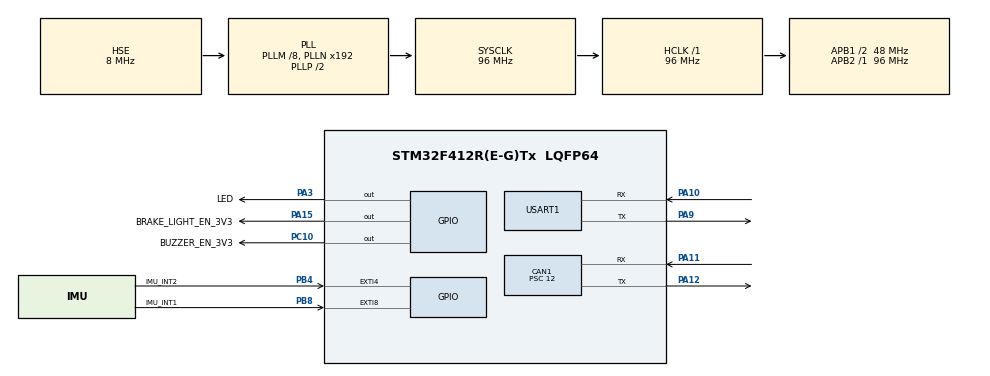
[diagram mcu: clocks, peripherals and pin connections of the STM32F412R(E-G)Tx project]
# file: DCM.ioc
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CAN1.ABOM=ENABLE
CAN1.BS1=CAN_BS1_6TQ
CAN1.CalculateBaudRate=500000
CAN1.CalculateTimeBit=2000
CAN1.CalculateTimeQuantum=250.0
CAN1.NART=ENABLE
CAN1.Prescaler=12
CAN1.RFLM=ENABLE
CAN1.SJW=CAN_SJW_4TQ
CAN1.TXFP=ENABLE
Dma.Request0=USART1_RX
Dma.USART1_RX.0.Direction=DMA_PERIPH_TO_MEMORY
Dma.USART1_RX.0.FIFOMode=DMA_FIFOMODE_DISABLE
Dma.USART1_RX.0.Instance=DMA2_Stream2
Dma.USART1_RX.0.MemDataAlignment=DMA_MDATAALIGN_BYTE
Dma.USART1_RX.0.MemInc=DMA_MINC_ENABLE
Dma.USART1_RX.0.Mode=DMA_CIRCULAR
Dma.USART1_RX.0.PeriphDataAlignment=DMA_PDATAALIGN_BYTE
Dma.USART1_RX.0.PeriphInc=DMA_PINC_DISABLE
Dma.USART1_RX.0.Priority=DMA_PRIORITY_LOW
FREERTOS.INCLUDE_uxTaskGetStackHighWaterMark=1
FREERTOS.INCLUDE_vTaskDelayUntil=1
FREERTOS.MEMORY_ALLOCATION=1
FREERTOS.Tasks01=Task1Hz,32,4096,RunTask1Hz,Default,NULL,Static,Task1HzBuffer,Task1HzControlBlock;Task1kHz,48,4096,RunTask1kHz,Default,NULL,Static,Task1kHzBuffer,Task1kHzControlBlock;TaskCanRx,24,4096,RunTaskCanRx,Default,NULL,Static,TaskCanRxBuffer,TaskCanRxControlBlock;TaskCanTx,24,4096,RunTaskCanTx,Default,NULL,Static,TaskCanTxBuffer,TaskCanTxControlBlock;Task100Hz,40,4096,RunTask100Hz,Default,NULL,Static,Task100HzBuffer,Task100HzControlBlock
FREERTOS.configCHECK_FOR_STACK_OVERFLOW=2
FREERTOS.configUSE_NEWLIB_REENTRANT=1
FREERTOS.configUSE_TICK_HOOK=1
FREERTOS.configUSE_TRACE_FACILITY=1
IWDG.Reload=LSI_FREQUENCY /  IWDG_PRESCALER / IWDG_RESET_FREQUENCY
Mcu.Family=STM32F4
Mcu.Name=STM32F412R(E-G)Tx
Mcu.Package=LQFP64
Mcu.UserConstants=LSI_FREQUENCY,32000;IWDG_PRESCALER,4;IWDG_RESET_FREQUENCY,5;SBG_ELLIPSE_GPS_BAUD_RATE,460800
NVIC.CAN1_RX0_IRQn=true\:5\:0\:false\:false\:true\:true\:true\:true\:true
NVIC.CAN1_RX1_IRQn=true\:5\:0\:false\:false\:true\:true\:true\:true\:true
NVIC.DMA2_Stream2_IRQn=true\:5\:0\:false\:false\:true\:true\:false\:true\:true
NVIC.PriorityGroup=NVIC_PRIORITYGROUP_4
NVIC.TIM6_IRQn=true\:15\:0\:false\:false\:true\:false\:false\:true\:true
NVIC.TimeBase=TIM6_IRQn
NVIC.TimeBaseIP=TIM6
PA10.Mode=Asynchronous
PA10.Signal=USART1_RX
PA11.GPIO_Speed=GPIO_SPEED_FREQ_HIGH
PA11.Mode=CAN_Activate
PA11.Signal=CAN1_RX
PA12.GPIO_Speed=GPIO_SPEED_FREQ_HIGH
PA12.Mode=CAN_Activate
PA12.Signal=CAN1_TX
PA13.Mode=Trace_Asynchronous_SW
PA13.Signal=SYS_JTMS-SWDIO
PA14.Mode=Trace_Asynchronous_SW
PA14.Signal=SYS_JTCK-SWCLK
PA15.GPIO_Label=BRAKE_LIGHT_EN_3V3
PA15.Signal=GPIO_Output
PA3.GPIO_Label=LED
PA3.Signal=GPIO_Output
PA9.Mode=Asynchronous
PA9.Signal=USART1_TX
PB3.Mode=Trace_Asynchronous_SW
PB3.Signal=SYS_JTDO-SWO
PB4.GPIO_Label=IMU_INT2
PB4.Signal=GPXTI4
PB6.Signal=I2C1_SCL
PB7.Signal=I2C1_SDA
PB8.GPIO_Label=IMU_INT1
PB8.Signal=GPXTI8
PC10.GPIO_Label=BUZZER_EN_3V3
PC10.Signal=GPIO_Output
PH0\ -\ OSC_IN.Mode=HSE-External-Oscillator
PH0\ -\ OSC_IN.Signal=RCC_OSC_IN
PH1\ -\ OSC_OUT.Mode=HSE-External-Oscillator
PH1\ -\ OSC_OUT.Signal=RCC_OSC_OUT
ProjectManager.HeapSize=0x00
ProjectManager.StackSize=0x400
ProjectManager.TargetToolchain=STM32CubeIDE
RCC.AHBFreq_Value=96000000
RCC.APB1CLKDivider=RCC_HCLK_DIV2
RCC.APB1Freq_Value=48000000
RCC.APB1TimFreq_Value=96000000
RCC.APB2Freq_Value=96000000
RCC.APB2TimFreq_Value=96000000
RCC.CortexFreq_Value=96000000
RCC.HCLKFreq_Value=96000000
RCC.HSE_VALUE=8000000
RCC.PLLM=8
RCC.PLLSourceVirtual=RCC_PLLSOURCE_HSE
RCC.SYSCLKFreq_VALUE=96000000
RCC.SYSCLKSource=RCC_SYSCLKSOURCE_PLLCLK
RCC.USBFreq_Value=96000000
RCC.VCOOutputFreq_Value=192000000
USART1.BaudRate=SBG_ELLIPSE_GPS_BAUD_RATE
USART1.VirtualMode=VM_ASYNC
VP_FREERTOS_VS_CMSIS_V2.Mode=CMSIS_V2
VP_IWDG_VS_IWDG.Mode=IWDG_Activate
VP_SYS_VS_tim6.Mode=TIM6
board=custom

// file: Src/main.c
/* USER CODE BEGIN Header */
/**
 ******************************************************************************
 * @file           : main.c
 * @brief          : Main program body
 ******************************************************************************
 * @attention
 *
 * <h2><center>&copy; Copyright (c) 2020 STMicroelectronics.
 * All rights reserved.</center></h2>
 *
 * This software component is licensed by ST under Ultimate Liberty license
 * SLA0044, the "License"; You may not use this file except in compliance with
 * the License. You may obtain a copy of the License at:
 *                             www.st.com/SLA0044
 *
 ******************************************************************************
 */
/* USER CODE END Header */
#include "main.h"
#include "cmsis_os.h"

/* USER CODE BEGIN Includes */
#include <assert.h>

#include "Io_SharedSoftwareWatchdog.h"
#include "Io_CanTx.h"
#include "Io_CanRx.h"
#include "hw_hardFaultHandler.h"
#include "Io_StackWaterMark.h"
#include "Io_SoftwareWatchdog.h"
#include "Io_SharedHeartbeatMonitor.h"
#include "Io_BrakeLight.h"
#include "Io_Buzzer.h"
#include "Io_LSM6DS33.h"
#include "Io_EllipseImu.h"
#include "io_can.h"
#include "io_jsoncan.h"
#include "io_log.h"
#include "hw_bootup.h"
#include "hw_can.h"

#include "App_SharedMacros.h"
#include "App_DcmWorld.h"
#include "App_SharedStateMachine.h"
#include "states/App_InitState.h"
#include "configs/App_HeartbeatMonitorConfig.h"
#include "configs/App_AccelerationThresholds.h"
#include "App_CommitInfo.h"
#include "hw_uart.h"

/* USER CODE END Includes */

typedef StaticTask_t osStaticThreadDef_t;

CAN_HandleTypeDef hcan1;

IWDG_HandleTypeDef hiwdg;

UART_HandleTypeDef huart1;
DMA_HandleTypeDef  hdma_usart1_rx;

/* Definitions for Task1Hz */
osThreadId_t         Task1HzHandle;
uint32_t             Task1HzBuffer[4096];
osStaticThreadDef_t  Task1HzControlBlock;
const osThreadAttr_t Task1Hz_attributes = {
    .name       = "Task1Hz",
    .cb_mem     = &Task1HzControlBlock,
    .cb_size    = sizeof(Task1HzControlBlock),
    .stack_mem  = &Task1HzBuffer[0],
    .stack_size = sizeof(Task1HzBuffer),
    .priority   = (osPriority_t)osPriorityAboveNormal,
};
/* Definitions for Task1kHz */
osThreadId_t         Task1kHzHandle;
uint32_t             Task1kHzBuffer[4096];
osStaticThreadDef_t  Task1kHzControlBlock;
const osThreadAttr_t Task1kHz_attributes = {
    .name       = "Task1kHz",
    .cb_mem     = &Task1kHzControlBlock,
    .cb_size    = sizeof(Task1kHzControlBlock),
    .stack_mem  = &Task1kHzBuffer[0],
    .stack_size = sizeof(Task1kHzBuffer),
    .priority   = (osPriority_t)osPriorityRealtime,
};
/* Definitions for TaskCanRx */
osThreadId_t         TaskCanRxHandle;
uint32_t             TaskCanRxBuffer[4096];
osStaticThreadDef_t  TaskCanRxControlBlock;
const osThreadAttr_t TaskCanRx_attributes = {
    .name       = "TaskCanRx",
    .cb_mem     = &TaskCanRxControlBlock,
    .cb_size    = sizeof(TaskCanRxControlBlock),
    .stack_mem  = &TaskCanRxBuffer[0],
    .stack_size = sizeof(TaskCanRxBuffer),
    .priority   = (osPriority_t)osPriorityNormal,
};
/* Definitions for TaskCanTx */
osThreadId_t         TaskCanTxHandle;
uint32_t             TaskCanTxBuffer[4096];
osStaticThreadDef_t  TaskCanTxControlBlock;
const osThreadAttr_t TaskCanTx_attributes = {
    .name       = "TaskCanTx",
    .cb_mem     = &TaskCanTxControlBlock,
    .cb_size    = sizeof(TaskCanTxControlBlock),
    .stack_mem  = &TaskCanTxBuffer[0],
    .stack_size = sizeof(TaskCanTxBuffer),
    .priority   = (osPriority_t)osPriorityNormal,
};
/* Definitions for Task100Hz */
osThreadId_t         Task100HzHandle;
uint32_t             Task100HzBuffer[4096];
osStaticThreadDef_t  Task100HzControlBlock;
const osThreadAttr_t Task100Hz_attributes = {
    .name       = "Task100Hz",
    .cb_mem     = &Task100HzControlBlock,
    .cb_size    = sizeof(Task100HzControlBlock),
    .stack_mem  = &Task100HzBuffer[0],
    .stack_size = sizeof(Task100HzBuffer),
    .priority   = (osPriority_t)osPriorityHigh,
};
/* USER CODE BEGIN PV */
struct DcmWorld *        world;
struct StateMachine *    state_machine;
struct HeartbeatMonitor *heartbeat_monitor;
struct BrakeLight *      brake_light;
struct Buzzer *          buzzer;
struct Imu *             imu;
struct Clock *           clock;
UART                     imu_uart = { .handle = &huart1 };

// config to forward can functions to shared heartbeat
// BMS rellies on DIM, FSM, and BMS
bool heartbeatMonitorChecklist[HEARTBEAT_BOARD_COUNT] = { [BMS_HEARTBEAT_BOARD] = true,
                                                          [DCM_HEARTBEAT_BOARD] = false,
                                                          [PDM_HEARTBEAT_BOARD] = false,
                                                          [FSM_HEARTBEAT_BOARD] = true,
                                                          [DIM_HEARTBEAT_BOARD] = true };

// heartbeatGetters - get heartbeat signals from other boards
bool (*heartbeatGetters[HEARTBEAT_BOARD_COUNT])() = { [BMS_HEARTBEAT_BOARD] = &App_CanRx_BMS_Heartbeat_Get,
                                                      [DCM_HEARTBEAT_BOARD] = NULL,
                                                      [PDM_HEARTBEAT_BOARD] = NULL,
                                                      [FSM_HEARTBEAT_BOARD] = &App_CanRx_FSM_Heartbeat_Get,
                                                      [DIM_HEARTBEAT_BOARD] = &App_CanRx_DIM_Heartbeat_Get };

// heartbeatUpdaters - update local CAN table with heartbeat status
void (*heartbeatUpdaters[HEARTBEAT_BOARD_COUNT])(bool) = { [BMS_HEARTBEAT_BOARD] = &App_CanRx_BMS_Heartbeat_Update,
                                                           [DCM_HEARTBEAT_BOARD] = NULL,
                                                           [PDM_HEARTBEAT_BOARD] = NULL,
                                                           [FSM_HEARTBEAT_BOARD] = &App_CanRx_FSM_Heartbeat_Update,
                                                           [DIM_HEARTBEAT_BOARD] = &App_CanRx_DIM_Heartbeat_Update };

// heartbeatFaultSetters - broadcast heartbeat faults over CAN
void (*heartbeatFaultSetters[HEARTBEAT_BOARD_COUNT])(bool) = {
    [BMS_HEARTBEAT_BOARD] = &App_CanAlerts_DCM_Fault_MissingBMSHeartbeat_Set,
    [DCM_HEARTBEAT_BOARD] = NULL,
    [PDM_HEARTBEAT_BOARD] = NULL,
    [FSM_HEARTBEAT_BOARD] = &App_CanAlerts_DCM_Fault_MissingFSMHeartbeat_Set,
    [DIM_HEARTBEAT_BOARD] = &App_CanAlerts_DCM_Fault_MissingDIMHeartbeat_Set
};

// heartbeatFaultGetters - gets fault statuses over CAN
bool (*heartbeatFaultGetters[HEARTBEAT_BOARD_COUNT])() = {
    [BMS_HEARTBEAT_BOARD] = &App_CanAlerts_DCM_Fault_MissingBMSHeartbeat_Get,
    [DCM_HEARTBEAT_BOARD] = NULL,
    [PDM_HEARTBEAT_BOARD] = NULL,
    [FSM_HEARTBEAT_BOARD] = &App_CanAlerts_DCM_Fault_MissingFSMHeartbeat_Get,
    [DIM_HEARTBEAT_BOARD] = &App_CanAlerts_DCM_Fault_MissingDIMHeartbeat_Get
};

/* USER CODE END PV */

void        SystemClock_Config(void);
static void MX_GPIO_Init(void);
static void MX_DMA_Init(void);
static void MX_CAN1_Init(void);
static void MX_IWDG_Init(void);
static void MX_USART1_UART_Init(void);
void        RunTask1Hz(void *argument);
void        RunTask1kHz(void *argument);
void        RunTaskCanRx(void *argument);
void        RunTaskCanTx(void *argument);
void        RunTask100Hz(void *argument);

/* USER CODE BEGIN PFP */

static void CanRxQueueOverflowCallBack(uint32_t overflow_count);
static void CanTxQueueOverflowCallBack(uint32_t overflow_count);

/* USER CODE END PFP */

/* USER CODE BEGIN 0 */
static void CanRxQueueOverflowCallBack(uint32_t overflow_count)
{
    App_CanTx_DCM_RxOverflowCount_Set(overflow_count);
    App_CanAlerts_DCM_Warning_RxOverflow_Set(true);
}

static void CanTxQueueOverflowCallBack(uint32_t overflow_count)
{
    App_CanTx_DCM_TxOverflowCount_Set(overflow_count);
    App_CanAlerts_DCM_Warning_TxOverflow_Set(true);
}

static const CanConfig can_config = {
    .rx_msg_filter        = Io_CanRx_FilterMessageId,
    .tx_overflow_callback = CanTxQueueOverflowCallBack,
    .rx_overflow_callback = CanRxQueueOverflowCallBack,
};
/* USER CODE END 0 */

int main(void)
{
    /* USER CODE BEGIN 1 */
    // After booting, re-enable interrupts and ensure the core is using the application's vector table.
    hw_bootup_enableInterruptsForApp();
    /* USER CODE END 1 */

    /* MCU Configuration--------------------------------------------------------*/

    /* Reset of all peripherals, Initializes the Flash interface and the Systick. */
    HAL_Init();

    /* Configure the system clock */
    SystemClock_Config();

    /* Initialize all configured peripherals */
    MX_GPIO_Init();
    MX_DMA_Init();
    MX_CAN1_Init();
    MX_IWDG_Init();
    MX_USART1_UART_Init();
    /* USER CODE BEGIN 2 */
    __HAL_DBGMCU_FREEZE_IWDG();

    // Configure and initialize SEGGER SystemView.
    SEGGER_SYSVIEW_Conf();
    LOG_INFO("DCM reset!");

    hw_hardFaultHandler_init();
    hw_can_init(&hcan1);

    Io_SharedSoftwareWatchdog_Init(Io_HardwareWatchdog_Refresh, Io_SoftwareWatchdog_TimeoutCallback);
    Io_CanTx_Init(io_jsoncan_pushTxMsgToQueue);
    Io_CanTx_EnableMode(CAN_MODE_DEFAULT, true);
    io_can_init(&can_config);

    if (!Io_EllipseImu_Init(&imu_uart))
    {
        Error_Handler();
    }

    App_CanTx_Init();
    App_CanRx_Init();

    heartbeat_monitor = App_SharedHeartbeatMonitor_Create(
        Io_SharedHeartbeatMonitor_GetCurrentMs, HEARTBEAT_MONITOR_TIMEOUT_PERIOD_MS, heartbeatMonitorChecklist,
        heartbeatGetters, heartbeatUpdaters, &App_CanTx_DCM_Heartbeat_Set, heartbeatFaultSetters,
        heartbeatFaultGetters);

    brake_light = App_BrakeLight_Create(Io_BrakeLight_TurnOn, Io_BrakeLight_TurnOff);

    buzzer = App_Buzzer_Create(Io_Buzzer_TurnOn, Io_Buzzer_TurnOff);

    imu = App_Imu_Create(
        Io_LSM6DS33_GetAccelerationX, Io_LSM6DS33_GetAccelerationY, Io_LSM6DS33_GetAccelerationZ, MIN_ACCELERATION_MS2,
        MAX_ACCELERATION_MS2);

    App_EllipseImu_Init(
        Io_EllipseImu_HandleLogs, Io_EllipseImu_GetTimestampUs, Io_EllipseImu_GetGeneralStatus,
        Io_EllipseImu_GetComStatus, Io_EllipseImu_GetSensorOutput);

    clock = App_SharedClock_Create();

    world = App_DcmWorld_Create(
        heartbeat_monitor, brake_light, buzzer, imu, clock, App_BuzzerSignals_IsOn, App_BuzzerSignals_Callback);

    state_machine = App_SharedStateMachine_Create(world, App_GetInitState());

    // broadcast commit info
    App_CanTx_DCM_Hash_Set(GIT_COMMIT_HASH);
    App_CanTx_DCM_Clean_Set(GIT_COMMIT_CLEAN);

    /* USER CODE END 2 */

    /* Init scheduler */
    osKernelInitialize();

    /* Create the thread(s) */
    /* creation of Task1Hz */
    Task1HzHandle = osThreadNew(RunTask1Hz, NULL, &Task1Hz_attributes);

    /* creation of Task1kHz */
    Task1kHzHandle = osThreadNew(RunTask1kHz, NULL, &Task1kHz_attributes);

    /* creation of TaskCanRx */
    TaskCanRxHandle = osThreadNew(RunTaskCanRx, NULL, &TaskCanRx_attributes);

    /* creation of TaskCanTx */
    TaskCanTxHandle = osThreadNew(RunTaskCanTx, NULL, &TaskCanTx_attributes);

    /* creation of Task100Hz */
    Task100HzHandle = osThreadNew(RunTask100Hz, NULL, &Task100Hz_attributes);

    /* Start scheduler */
    osKernelStart();

    /* We should never get here as control is now taken by the scheduler */
    /* Infinite loop */
    while (1)
    {

    }
}

void SystemClock_Config(void)
{
    RCC_OscInitTypeDef RCC_OscInitStruct = { 0 };
    RCC_ClkInitTypeDef RCC_ClkInitStruct = { 0 };

    /** Configure the main internal regulator output voltage
     */
    __HAL_RCC_PWR_CLK_ENABLE();
    __HAL_PWR_VOLTAGESCALING_CONFIG(PWR_REGULATOR_VOLTAGE_SCALE1);

    /** Initializes the RCC Oscillators according to the specified parameters
     * in the RCC_OscInitTypeDef structure.
     */
    RCC_OscInitStruct.OscillatorType = RCC_OSCILLATORTYPE_LSI | RCC_OSCILLATORTYPE_HSE;
    RCC_OscInitStruct.HSEState       = RCC_HSE_ON;
    RCC_OscInitStruct.LSIState       = RCC_LSI_ON;
    RCC_OscInitStruct.PLL.PLLState   = RCC_PLL_ON;
    RCC_OscInitStruct.PLL.PLLSource  = RCC_PLLSOURCE_HSE;
    RCC_OscInitStruct.PLL.PLLM       = 8;
    RCC_OscInitStruct.PLL.PLLN       = 192;
    RCC_OscInitStruct.PLL.PLLP       = RCC_PLLP_DIV2;
    RCC_OscInitStruct.PLL.PLLQ       = 2;
    RCC_OscInitStruct.PLL.PLLR       = 2;
    if (HAL_RCC_OscConfig(&RCC_OscInitStruct) != HAL_OK)
    {
        Error_Handler();
    }

    /** Initializes the CPU, AHB and APB buses clocks
     */
    RCC_ClkInitStruct.ClockType = RCC_CLOCKTYPE_HCLK | RCC_CLOCKTYPE_SYSCLK | RCC_CLOCKTYPE_PCLK1 | RCC_CLOCKTYPE_PCLK2;
    RCC_ClkInitStruct.SYSCLKSource   = RCC_SYSCLKSOURCE_PLLCLK;
    RCC_ClkInitStruct.AHBCLKDivider  = RCC_SYSCLK_DIV1;
    RCC_ClkInitStruct.APB1CLKDivider = RCC_HCLK_DIV2;
    RCC_ClkInitStruct.APB2CLKDivider = RCC_HCLK_DIV1;

    if (HAL_RCC_ClockConfig(&RCC_ClkInitStruct, FLASH_LATENCY_3) != HAL_OK)
    {
        Error_Handler();
    }
}

static void MX_CAN1_Init(void)
{

    hcan1.Instance                  = CAN1;
    hcan1.Init.Prescaler            = 12;
    hcan1.Init.Mode                 = CAN_MODE_NORMAL;
    hcan1.Init.SyncJumpWidth        = CAN_SJW_4TQ;
    hcan1.Init.TimeSeg1             = CAN_BS1_6TQ;
    hcan1.Init.TimeSeg2             = CAN_BS2_1TQ;
    hcan1.Init.TimeTriggeredMode    = DISABLE;
    hcan1.Init.AutoBusOff           = ENABLE;
    hcan1.Init.AutoWakeUp           = DISABLE;
    hcan1.Init.AutoRetransmission   = ENABLE;
    hcan1.Init.ReceiveFifoLocked    = ENABLE;
    hcan1.Init.TransmitFifoPriority = ENABLE;
    if (HAL_CAN_Init(&hcan1) != HAL_OK)
    {
        Error_Handler();
    }
}

static void MX_IWDG_Init(void)
{

    hiwdg.Instance       = IWDG;
    hiwdg.Init.Prescaler = IWDG_PRESCALER_4;
    hiwdg.Init.Reload    = LSI_FREQUENCY / IWDG_PRESCALER / IWDG_RESET_FREQUENCY;
    if (HAL_IWDG_Init(&hiwdg) != HAL_OK)
    {
        Error_Handler();
    }
}

static void MX_USART1_UART_Init(void)
{

    huart1.Instance          = USART1;
    huart1.Init.BaudRate     = SBG_ELLIPSE_GPS_BAUD_RATE;
    huart1.Init.WordLength   = UART_WORDLENGTH_8B;
    huart1.Init.StopBits     = UART_STOPBITS_1;
    huart1.Init.Parity       = UART_PARITY_NONE;
    huart1.Init.Mode         = UART_MODE_TX_RX;
    huart1.Init.HwFlowCtl    = UART_HWCONTROL_NONE;
    huart1.Init.OverSampling = UART_OVERSAMPLING_16;
    if (HAL_UART_Init(&huart1) != HAL_OK)
    {
        Error_Handler();
    }
}

static void MX_DMA_Init(void)
{
    /* DMA controller clock enable */
    __HAL_RCC_DMA2_CLK_ENABLE();

    /* DMA interrupt init */
    /* DMA2_Stream2_IRQn interrupt configuration */
    HAL_NVIC_SetPriority(DMA2_Stream2_IRQn, 5, 0);
    HAL_NVIC_EnableIRQ(DMA2_Stream2_IRQn);
}

static void MX_GPIO_Init(void)
{
    GPIO_InitTypeDef GPIO_InitStruct = { 0 };

    /* GPIO Ports Clock Enable */
    __HAL_RCC_GPIOH_CLK_ENABLE();
    __HAL_RCC_GPIOA_CLK_ENABLE();
    __HAL_RCC_GPIOC_CLK_ENABLE();
    __HAL_RCC_GPIOB_CLK_ENABLE();

    /*Configure GPIO pin Output Level */
    HAL_GPIO_WritePin(GPIOA, LED_Pin | BRAKE_LIGHT_EN_3V3_Pin, GPIO_PIN_RESET);

    /*Configure GPIO pin Output Level */
    HAL_GPIO_WritePin(BUZZER_EN_3V3_GPIO_Port, BUZZER_EN_3V3_Pin, GPIO_PIN_RESET);

    /*Configure GPIO pins : LED_Pin BRAKE_LIGHT_EN_3V3_Pin */
    GPIO_InitStruct.Pin   = LED_Pin | BRAKE_LIGHT_EN_3V3_Pin;
    GPIO_InitStruct.Mode  = GPIO_MODE_OUTPUT_PP;
    GPIO_InitStruct.Pull  = GPIO_NOPULL;
    GPIO_InitStruct.Speed = GPIO_SPEED_FREQ_LOW;
    HAL_GPIO_Init(GPIOA, &GPIO_InitStruct);

    /*Configure GPIO pin : BUZZER_EN_3V3_Pin */
    GPIO_InitStruct.Pin   = BUZZER_EN_3V3_Pin;
    GPIO_InitStruct.Mode  = GPIO_MODE_OUTPUT_PP;
    GPIO_InitStruct.Pull  = GPIO_NOPULL;
    GPIO_InitStruct.Speed = GPIO_SPEED_FREQ_LOW;
    HAL_GPIO_Init(BUZZER_EN_3V3_GPIO_Port, &GPIO_InitStruct);

    /*Configure GPIO pins : IMU_INT2_Pin IMU_INT1_Pin */
    GPIO_InitStruct.Pin  = IMU_INT2_Pin | IMU_INT1_Pin;
    GPIO_InitStruct.Mode = GPIO_MODE_IT_RISING;
    GPIO_InitStruct.Pull = GPIO_NOPULL;
    HAL_GPIO_Init(GPIOB, &GPIO_InitStruct);

    /*Configure GPIO pins : PB6 PB7 */
    GPIO_InitStruct.Pin       = GPIO_PIN_6 | GPIO_PIN_7;
    GPIO_InitStruct.Mode      = GPIO_MODE_AF_OD;
    GPIO_InitStruct.Pull      = GPIO_NOPULL;
    GPIO_InitStruct.Speed     = GPIO_SPEED_FREQ_VERY_HIGH;
    GPIO_InitStruct.Alternate = GPIO_AF4_I2C1;
    HAL_GPIO_Init(GPIOB, &GPIO_InitStruct);

}

void RunTask1Hz(void *argument)
{
    /* USER CODE BEGIN 5 */
    UNUSED(argument);
    static const TickType_t  period_ms = 1000U;
    SoftwareWatchdogHandle_t watchdog  = Io_SharedSoftwareWatchdog_AllocateWatchdog();
    Io_SharedSoftwareWatchdog_InitWatchdog(watchdog, RTOS_TASK_1HZ, period_ms);

    static uint32_t start_ticks = 0;
    start_ticks                 = osKernelGetTickCount();

    for (;;)
    {
        Io_StackWaterMark_Check();
        App_SharedStateMachine_Tick1Hz(state_machine);

        const bool debug_mode_enabled = App_CanRx_Debug_EnableDebugMode_Get();
        Io_CanTx_EnableMode(CAN_MODE_DEBUG, debug_mode_enabled);
        Io_CanTx_Enqueue1HzMsgs();

        // Watchdog check-in must be the last function called before putting the
        // task to sleep.
        Io_SharedSoftwareWatchdog_CheckInWatchdog(watchdog);

        start_ticks += period_ms;
        osDelayUntil(start_ticks);
    }
    /* USER CODE END 5 */
}

void RunTask1kHz(void *argument)
{
    /* USER CODE BEGIN RunTask1kHz */
    UNUSED(argument);
    static const TickType_t  period_ms = 1U;
    SoftwareWatchdogHandle_t watchdog  = Io_SharedSoftwareWatchdog_AllocateWatchdog();
    Io_SharedSoftwareWatchdog_InitWatchdog(watchdog, RTOS_TASK_1KHZ, period_ms);

    static uint32_t start_ticks = 0;
    start_ticks                 = osKernelGetTickCount();

    for (;;)
    {
        Io_SharedSoftwareWatchdog_CheckForTimeouts();
        const uint32_t task_start_ms = TICK_TO_MS(osKernelGetTickCount());

        App_SharedClock_SetCurrentTimeInMilliseconds(clock, task_start_ms);
        App_DcmWorld_UpdateWaitSignal(world, task_start_ms);
        Io_CanTx_EnqueueOtherPeriodicMsgs(task_start_ms);

        // Watchdog check-in must be the last function called before putting the
        // task to sleep. Prevent check in if the elapsed period is greater or
        // equal to the period ms
        if ((TICK_TO_MS(osKernelGetTickCount()) - task_start_ms) <= period_ms)
        {
            Io_SharedSoftwareWatchdog_CheckInWatchdog(watchdog);
        }

        start_ticks += period_ms;
        osDelayUntil(start_ticks);
    }
    /* USER CODE END RunTask1kHz */
}

void RunTaskCanRx(void *argument)
{
    /* USER CODE BEGIN RunTaskCanRx */
    UNUSED(argument);

    for (;;)
    {
        CanMsg rx_msg;
        io_can_popRxMsgFromQueue(&rx_msg);

        JsonCanMsg jsoncan_rx_msg;
        io_jsoncan_copyFromCanMsg(&rx_msg, &jsoncan_rx_msg);
        Io_CanRx_UpdateRxTableWithMessage(&jsoncan_rx_msg);
    }
    /* USER CODE END RunTaskCanRx */
}

void RunTaskCanTx(void *argument)
{
    /* USER CODE BEGIN RunTaskCanTx */
    UNUSED(argument);

    for (;;)
    {
        io_can_transmitMsgFromQueue();
    }
    /* USER CODE END RunTaskCanTx */
}

void RunTask100Hz(void *argument)
{
    /* USER CODE BEGIN RunTask100Hz */
    UNUSED(argument);
    static const TickType_t  period_ms = 10;
    SoftwareWatchdogHandle_t watchdog  = Io_SharedSoftwareWatchdog_AllocateWatchdog();
    Io_SharedSoftwareWatchdog_InitWatchdog(watchdog, RTOS_TASK_100HZ, period_ms);

    static uint32_t start_ticks = 0;
    start_ticks                 = osKernelGetTickCount();

    /* Infinite loop */
    for (;;)
    {
        App_SharedStateMachine_Tick100Hz(state_machine);
        Io_CanTx_Enqueue100HzMsgs();

        // Watchdog check-in must be the last function called before putting the
        // task to sleep.
        Io_SharedSoftwareWatchdog_CheckInWatchdog(watchdog);

        start_ticks += period_ms;
        osDelayUntil(start_ticks);
    }
    /* USER CODE END RunTask100Hz */
}

void HAL_TIM_PeriodElapsedCallback(TIM_HandleTypeDef *htim)
{
    if (htim->Instance == TIM6)
    {
        HAL_IncTick();
    }
}

void Error_Handler(void)
{
    /* USER CODE BEGIN Error_Handler_Debug */
    __assert_func(__FILE__, __LINE__, "Error_Handler", "Error_Handler");
    /* USER CODE END Error_Handler_Debug */
}

#ifdef USE_FULL_ASSERT
/**
 * @brief  Reports the name of the source file and the source line number
 *         where the assert_param error has occurred.
 * @param  file: pointer to the source file name
 * @param  line: assert_param error line source number
 * @retval None
 */
void assert_failed(uint8_t *file, uint32_t line)
{
    /* USER CODE BEGIN 6 */
    __assert_func(file, line, "assert_failed", "assert_failed");
    /* USER CODE END 6 */
}
#endif /* USE_FULL_ASSERT */

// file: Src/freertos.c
/* USER CODE BEGIN Header */
/**
 ******************************************************************************
 * File Name          : freertos.c
 * Description        : Code for freertos applications
 ******************************************************************************
 * @attention
 *
 * <h2><center>&copy; Copyright (c) 2023 STMicroelectronics.
 * All rights reserved.</center></h2>
 *
 * This software component is licensed by ST under Ultimate Liberty license
 * SLA0044, the "License"; You may not use this file except in compliance with
 * the License. You may obtain a copy of the License at:
 *                             www.st.com/SLA0044
 *
 ******************************************************************************
 */
/* USER CODE END Header */

#include "FreeRTOS.h"
#include "task.h"
#include "main.h"

/* Hook prototypes */
void vApplicationTickHook(void);
void vApplicationStackOverflowHook(xTaskHandle xTask, signed char * pcTaskName);

/* USER CODE BEGIN 3 */
__weak void vApplicationTickHook(void)
{
    /* This function will be called by each tick interrupt if
    configUSE_TICK_HOOK is set to 1 in FreeRTOSConfig.h. User code can be
    added here, but the tick hook is called from an interrupt context, so
    code must not attempt to block, and only the interrupt safe FreeRTOS API
    functions can be used (those that end in FromISR()). */
}
/* USER CODE END 3 */

/* USER CODE BEGIN 4 */
__weak void vApplicationStackOverflowHook(xTaskHandle xTask, signed char * pcTaskName)
{
    /* Run time stack overflow checking is performed if
    configCHECK_FOR_STACK_OVERFLOW is defined to 1 or 2. This hook function is
    called if a stack overflow is detected. */
}
/* USER CODE END 4 */
